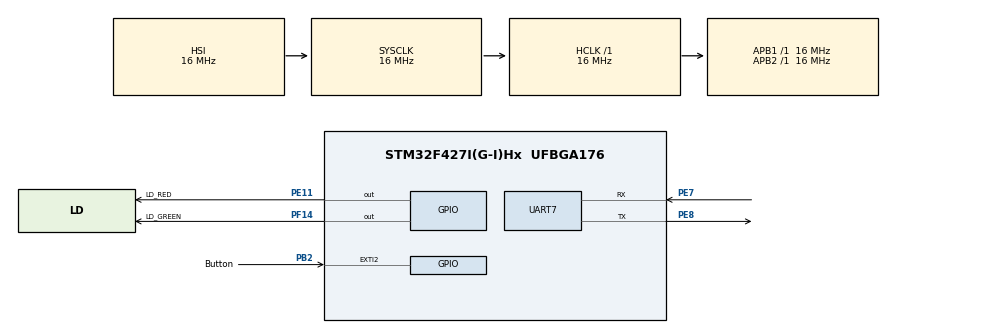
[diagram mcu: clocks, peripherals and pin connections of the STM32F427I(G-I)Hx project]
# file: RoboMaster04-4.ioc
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Dma.Request0=UART7_RX
Dma.Request1=UART7_TX
Dma.UART7_RX.0.Direction=DMA_PERIPH_TO_MEMORY
Dma.UART7_RX.0.FIFOMode=DMA_FIFOMODE_DISABLE
Dma.UART7_RX.0.Instance=DMA1_Stream3
Dma.UART7_RX.0.MemDataAlignment=DMA_MDATAALIGN_BYTE
Dma.UART7_RX.0.MemInc=DMA_MINC_ENABLE
Dma.UART7_RX.0.Mode=DMA_NORMAL
Dma.UART7_RX.0.PeriphDataAlignment=DMA_PDATAALIGN_BYTE
Dma.UART7_RX.0.PeriphInc=DMA_PINC_DISABLE
Dma.UART7_RX.0.Priority=DMA_PRIORITY_LOW
Dma.UART7_TX.1.Direction=DMA_MEMORY_TO_PERIPH
Dma.UART7_TX.1.FIFOMode=DMA_FIFOMODE_DISABLE
Dma.UART7_TX.1.Instance=DMA1_Stream1
Dma.UART7_TX.1.MemDataAlignment=DMA_MDATAALIGN_BYTE
Dma.UART7_TX.1.MemInc=DMA_MINC_ENABLE
Dma.UART7_TX.1.Mode=DMA_NORMAL
Dma.UART7_TX.1.PeriphDataAlignment=DMA_PDATAALIGN_BYTE
Dma.UART7_TX.1.PeriphInc=DMA_PINC_DISABLE
Dma.UART7_TX.1.Priority=DMA_PRIORITY_LOW
Mcu.Family=STM32F4
Mcu.Name=STM32F427I(G-I)Hx
Mcu.Package=UFBGA176
NVIC.DMA1_Stream1_IRQn=true\:1\:0\:true\:false\:true\:false\:true
NVIC.DMA1_Stream3_IRQn=true\:1\:0\:true\:false\:true\:false\:true
NVIC.EXTI2_IRQn=true\:1\:0\:true\:false\:true\:true\:true
NVIC.PriorityGroup=NVIC_PRIORITYGROUP_4
NVIC.UART7_IRQn=true\:1\:0\:true\:false\:true\:true\:true
PB2/BOOT1.GPIO_Label=Button
PB2/BOOT1.Signal=GPXTI2
PE11.GPIO_Label=LD_RED
PE11.Signal=GPIO_Output
PE7.Mode=Asynchronous
PE7.Signal=UART7_RX
PE8.Mode=Asynchronous
PE8.Signal=UART7_TX
PF14.GPIO_Label=LD_GREEN
PF14.Signal=GPIO_Output
ProjectManager.HeapSize=0x200
ProjectManager.StackSize=0x400
ProjectManager.TargetToolchain=SW4STM32
RCC.AHBFreq_Value=16000000
RCC.APB1Freq_Value=16000000
RCC.APB2Freq_Value=16000000
RCC.CortexFreq_Value=16000000
RCC.HSE_VALUE=25000000
RCC.HSI_VALUE=16000000
RCC.LSE_VALUE=32768
RCC.SYSCLKFreq_VALUE=16000000
RCC.VCOOutputFreq_Value=192000000
UART7.VirtualMode=Asynchronous
board=custom

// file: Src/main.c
/* USER CODE BEGIN Header */
/**
  ******************************************************************************
  * @file           : main.c
  * @brief          : Main program body
  ******************************************************************************
  * @attention
  *
  * <h2><center>&copy; Copyright (c) 2020 STMicroelectronics.
  * All rights reserved.</center></h2>
  *
  * This software component is licensed by ST under BSD 3-Clause license,
  * the "License"; You may not use this file except in compliance with the
  * License. You may obtain a copy of the License at:
  *                        opensource.org/licenses/BSD-3-Clause
  *
  ******************************************************************************
  */
/* USER CODE END Header */

#include "main.h"

/* USER CODE BEGIN Includes */
#include "string.h"
#include "stdbool.h"
/* USER CODE END Includes */

UART_HandleTypeDef huart7;
DMA_HandleTypeDef hdma_uart7_rx;
DMA_HandleTypeDef hdma_uart7_tx;

void SystemClock_Config(void);
static void MX_GPIO_Init(void);
static void MX_DMA_Init(void);
static void MX_UART7_Init(void);

/* USER CODE BEGIN 0 */
char msg[]="\r\n"
           "                                    %@@@@@@@#\r\n"
           "                      .(&@&,        &@@@@@@@%        *@@&(\r\n"
           "                   %@@@@@@@@%%&@@@@@@@@@@@@@@@@@@@&%&@@@@@@@@#\r\n"
           "                    &@@@@@@@@@@@@@@@@@@@@@@@@@@@@@@@@@@@@@@@%\r\n"
           "                    #@@@@@@@@@@@@@@@@@@@@@@@@@@@@@@@@@@@@@@@/\r\n"
           "           ,.    .&@@@@@@@@@@@@@&(.           ,(&@@@@@@@@@@@@@&.    .,\r\n"
           "          &@@@@&@@@@@@@@@@@&,   ###%#%%%%#%%%####   *&@@@@@@@@@@@&@@@@%\r\n"
           "        /@@@@@@@@@@@@@@@&          ,@@@@@@@@&.         .&@@@@@@@@@@@@@@@,\r\n"
           "       (&@@@@@@@@@@@@@#             (@@@@@@@/             %@@@@@@@@@@@@@&*\r\n"
           "           &@@@@@@@@&.        ,%@@@@&@@@@@@@&@@@&%,        ,&@@@@@@@@%\r\n"
           "          /@@@@@@@@%       #@@@@@(  *@@@@@@&,  %@@@@&(       &@@@@@@@@/\r\n"
           "         .&@@@@@@@%      #@@@@@%    *@@@@@@&,    &@@@@@#      &@@@@@@@&.                #  \"There is no truth in flesh,     only betrayal.\"\r\n"
           "    ,%%%%&@@@@@@@@*     &@@@@@%     *@@@@@@&,     %@@@@@%     ,@@@@@@@@&%%%%            #  \"There is no strength in flesh,  only weakness.\"\r\n"
           "    /@@@@@@@@@@@@&.    #@@@@@@,     *@@@@@@&,     ,@@@@@@(    .&@@@@@@@@@@@&,           #  \"There is no constancy in flesh, only decay   .\"\r\n"
           "    /@@@@@@@@@@@@&     %@@@@@@,     *@@@@@@&,     ,@@@@@@#    .&@@@@@@@@@@@&,           #  \"There is no certainty in flesh, but death    .\"\r\n"
           "    *&@@@@@@@@@@@&,    .@@@@@@#     *@@@@@@&,     %@@@@@&     ,@@@@@@@@@@@@&.           #                                 — Credo Omnissiah\r\n"
           "         .&@@@@@@@#     .&@@@@@(    *@@@@@@&,    %@@@@@&      %@@@@@@@&.\r\n"
           "          (@@@@@@@@(      ,&@@@@&.  *@@@@@@&,  *&@@@@%.      #@@@@@@@@(                 Welcome back to Adeptus Mechanicus, Alchemic Ronin!\r\n"
           "           %@@@@@@@@%        .%@@@@&%@@@@@@@%&@@@@#.        %@@@@@@@@%\r\n"
           "       .(&@@@@@@@@@@@@,            *%@@@@@@@%*            (@@@@@@@@@@@@&/\r\n"
           "        %@@@@@@@@@@@@@@@/         .(@@@@@@@@@(.         #@@@@@@@@@@@@@@@#\r\n"
           "         .&@@@@@@@@@@@@@@@@(    ,***************,    #&@@@@@@@@@@@@@@@&.\r\n"
           "           %(    #@@@@@@@@@@@@@%*.             ./&@@@@@@@@@@@@@/   .##\r\n"
           "                   .&@@@@@@@@@@@@@@@@@@@@@@@@@@@@@@@@@@@@@@@%.\r\n"
           "                    #@@@@@@@@@@@@@@@@@@@@@@@@@@@@@@@@@@@@@@@(\r\n"
           "                   &@@@@@@@@@&@@@@@@@@@@@@@@@@@@@@@&@@@@@@@@@%\r\n"
           "                      /&@@@/      .*&@@@@@@@&,.      (@@@&/\r\n"
           "                                    %@@@@@@@#\r\n"
           "                                    .,,,,,,,.\r\n"
           "\r\n";
uint8_t data[1];
bool flag=false;
/* USER CODE END 0 */

int main(void)
{

  /* MCU Configuration--------------------------------------------------------*/

  /* Reset of all peripherals, Initializes the Flash interface and the Systick. */
  HAL_Init();

  /* Configure the system clock */
  SystemClock_Config();

  /* Initialize all configured peripherals */
  MX_GPIO_Init();
  MX_DMA_Init();
  MX_UART7_Init();
  /* USER CODE BEGIN 2 */
	HAL_GPIO_WritePin(LD_RED_GPIO_Port,LD_RED_Pin,GPIO_PIN_SET);
	HAL_GPIO_WritePin(LD_GREEN_GPIO_Port,LD_GREEN_Pin,GPIO_PIN_SET);
	HAL_UART_Receive_DMA(&huart7,data,1);
  /* USER CODE END 2 */

  /* Infinite loop */
	while (1)
	{

	}
}

void SystemClock_Config(void)
{
  RCC_OscInitTypeDef RCC_OscInitStruct = {0};
  RCC_ClkInitTypeDef RCC_ClkInitStruct = {0};

  /** Configure the main internal regulator output voltage
  */
  __HAL_RCC_PWR_CLK_ENABLE();
  __HAL_PWR_VOLTAGESCALING_CONFIG(PWR_REGULATOR_VOLTAGE_SCALE3);
  /** Initializes the CPU, AHB and APB busses clocks
  */
  RCC_OscInitStruct.OscillatorType = RCC_OSCILLATORTYPE_HSI;
  RCC_OscInitStruct.HSIState = RCC_HSI_ON;
  RCC_OscInitStruct.HSICalibrationValue = RCC_HSICALIBRATION_DEFAULT;
  RCC_OscInitStruct.PLL.PLLState = RCC_PLL_NONE;
  if (HAL_RCC_OscConfig(&RCC_OscInitStruct) != HAL_OK)
  {
    Error_Handler();
  }
  /** Initializes the CPU, AHB and APB busses clocks
  */
  RCC_ClkInitStruct.ClockType = RCC_CLOCKTYPE_HCLK|RCC_CLOCKTYPE_SYSCLK
                              |RCC_CLOCKTYPE_PCLK1|RCC_CLOCKTYPE_PCLK2;
  RCC_ClkInitStruct.SYSCLKSource = RCC_SYSCLKSOURCE_HSI;
  RCC_ClkInitStruct.AHBCLKDivider = RCC_SYSCLK_DIV1;
  RCC_ClkInitStruct.APB1CLKDivider = RCC_HCLK_DIV1;
  RCC_ClkInitStruct.APB2CLKDivider = RCC_HCLK_DIV1;

  if (HAL_RCC_ClockConfig(&RCC_ClkInitStruct, FLASH_LATENCY_0) != HAL_OK)
  {
    Error_Handler();
  }
}

static void MX_UART7_Init(void)
{

  huart7.Instance = UART7;
  huart7.Init.BaudRate = 115200;
  huart7.Init.WordLength = UART_WORDLENGTH_8B;
  huart7.Init.StopBits = UART_STOPBITS_1;
  huart7.Init.Parity = UART_PARITY_NONE;
  huart7.Init.Mode = UART_MODE_TX_RX;
  huart7.Init.HwFlowCtl = UART_HWCONTROL_NONE;
  huart7.Init.OverSampling = UART_OVERSAMPLING_16;
  if (HAL_UART_Init(&huart7) != HAL_OK)
  {
    Error_Handler();
  }

}

static void MX_DMA_Init(void)
{

  /* DMA controller clock enable */
  __HAL_RCC_DMA1_CLK_ENABLE();

  /* DMA interrupt init */
  /* DMA1_Stream1_IRQn interrupt configuration */
  HAL_NVIC_SetPriority(DMA1_Stream1_IRQn, 1, 0);
  HAL_NVIC_EnableIRQ(DMA1_Stream1_IRQn);
  /* DMA1_Stream3_IRQn interrupt configuration */
  HAL_NVIC_SetPriority(DMA1_Stream3_IRQn, 1, 0);
  HAL_NVIC_EnableIRQ(DMA1_Stream3_IRQn);

}

static void MX_GPIO_Init(void)
{
  GPIO_InitTypeDef GPIO_InitStruct = {0};

  /* GPIO Ports Clock Enable */
  __HAL_RCC_GPIOB_CLK_ENABLE();
  __HAL_RCC_GPIOE_CLK_ENABLE();
  __HAL_RCC_GPIOF_CLK_ENABLE();

  /*Configure GPIO pin Output Level */
  HAL_GPIO_WritePin(LD_RED_GPIO_Port, LD_RED_Pin, GPIO_PIN_RESET);

  /*Configure GPIO pin Output Level */
  HAL_GPIO_WritePin(LD_GREEN_GPIO_Port, LD_GREEN_Pin, GPIO_PIN_RESET);

  /*Configure GPIO pin : Button_Pin */
  GPIO_InitStruct.Pin = Button_Pin;
  GPIO_InitStruct.Mode = GPIO_MODE_IT_RISING;
  GPIO_InitStruct.Pull = GPIO_NOPULL;
  HAL_GPIO_Init(Button_GPIO_Port, &GPIO_InitStruct);

  /*Configure GPIO pin : LD_RED_Pin */
  GPIO_InitStruct.Pin = LD_RED_Pin;
  GPIO_InitStruct.Mode = GPIO_MODE_OUTPUT_PP;
  GPIO_InitStruct.Pull = GPIO_NOPULL;
  GPIO_InitStruct.Speed = GPIO_SPEED_FREQ_LOW;
  HAL_GPIO_Init(LD_RED_GPIO_Port, &GPIO_InitStruct);

  /*Configure GPIO pin : LD_GREEN_Pin */
  GPIO_InitStruct.Pin = LD_GREEN_Pin;
  GPIO_InitStruct.Mode = GPIO_MODE_OUTPUT_PP;
  GPIO_InitStruct.Pull = GPIO_NOPULL;
  GPIO_InitStruct.Speed = GPIO_SPEED_FREQ_LOW;
  HAL_GPIO_Init(LD_GREEN_GPIO_Port, &GPIO_InitStruct);

  /* EXTI interrupt init*/
  HAL_NVIC_SetPriority(EXTI2_IRQn, 1, 0);
  HAL_NVIC_EnableIRQ(EXTI2_IRQn);

}

/* USER CODE BEGIN 4 */
void HAL_GPIO_EXTI_Callback(uint16_t GPIO_Pin){
	if(GPIO_Pin == Button_Pin){
		HAL_Delay(500);
		flag=true;
		HAL_UART_Transmit_DMA(&huart7,(uint8_t*)msg,strlen(msg));
	}
}

void HAL_UART_TxCpltCallback(UART_HandleTypeDef *huart){
	if(flag==true){
		flag=false;
		HAL_GPIO_TogglePin(LD_RED_GPIO_Port,LD_RED_Pin);
		HAL_Delay(200);
		HAL_GPIO_TogglePin(LD_RED_GPIO_Port,LD_RED_Pin);
	}else{
		HAL_GPIO_TogglePin(LD_GREEN_GPIO_Port, LD_GREEN_Pin);
		HAL_Delay(200);
		HAL_GPIO_TogglePin(LD_GREEN_GPIO_Port, LD_GREEN_Pin);
	}
}

void HAL_UART_RxCpltCallback(UART_HandleTypeDef *huart){
	HAL_UART_Transmit_DMA(&huart7,data,1);
	HAL_UART_Receive_DMA(&huart7,data,1);
}
/* USER CODE END 4 */

void Error_Handler(void)
{
}

/************************ (C) COPYRIGHT STMicroelectronics *****END OF FILE****/
